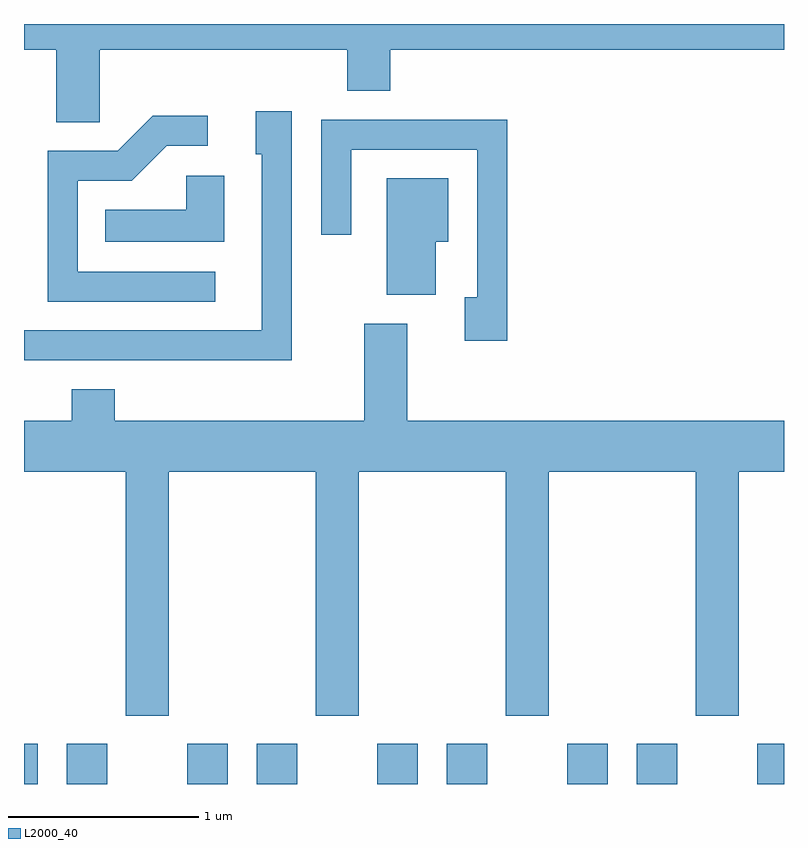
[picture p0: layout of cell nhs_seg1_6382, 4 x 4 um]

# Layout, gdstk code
import gdstk
lib = gdstk.Library(unit=1e-6, precision=1e-09)
def R(c, l, rs):  # rectangles x0, y0, x1, y1
    for r in rs: c.add(gdstk.rectangle(r[:2], r[2:], *l))
def P(c, l, *ps):  # polygons
    for p in ps: c.add(gdstk.Polygon(p, *l))
L2000_40 = (2000, 40)

nhs_seg1_6382 = lib.new_cell('nhs_seg1_6382')
R(nhs_seg1_6382, L2000_40, [(377.611,895.712,377.684,895.924), (377.836,895.712,378.049,895.924), (378.471,895.712,378.684,895.924), (378.836,895.712,379.049,895.924), (379.471,895.712,379.684,895.924), (379.836,895.712,380.049,895.924), (380.471,895.712,380.684,895.924), (380.836,895.712,381.049,895.924), (381.471,895.712,381.611,895.924)])
P(nhs_seg1_6382, L2000_40, [(378.009,899.576),(379.311,899.576),(379.311,899.361),(379.539,899.361),(379.539,899.576),(381.611,899.576),(381.611,899.712),(377.611,899.712),(377.611,899.576),(377.781,899.576),(377.781,899.196),(378.009,899.196)],
  [(379.019,899.254),(378.831,899.254),(378.831,899.026),(378.861,899.026),(378.861,898.099),(377.611,898.099),(377.611,897.941),(379.019,897.941)],
  [(378.618,898.409),(377.894,898.409),(377.894,898.886),(378.177,898.886),(378.362,899.071),(378.578,899.071),(378.578,899.229),(378.289,899.229),(378.104,899.044),(377.736,899.044),(377.736,898.251),(378.618,898.251)],
  [(380.154,899.209),(379.176,899.209),(379.176,898.603),(379.334,898.603),(379.334,899.051),(379.996,899.051),(379.996,898.274),(379.931,898.274),(379.931,898.046),(380.154,898.046)],
  [(378.664,898.914),(378.466,898.914),(378.466,898.734),(378.038,898.734),(378.038,898.566),(378.664,898.566)],
  [(379.779,898.566),(379.844,898.566),(379.844,898.899),(379.521,898.899),(379.521,898.286),(379.779,898.286)],
  [(378.374,897.356),(379.146,897.356),(379.146,896.071),(379.374,896.071),(379.374,897.356),(380.146,897.356),(380.146,896.071),(380.374,896.071),(380.374,897.356),(381.146,897.356),(381.146,896.071),(381.374,896.071),(381.374,897.356),(381.611,897.356),(381.611,897.624),(379.629,897.624),(379.629,898.134),(379.401,898.134),(379.401,897.624),(378.089,897.624),(378.089,897.789),(377.861,897.789),(377.861,897.624),(377.611,897.624),(377.611,897.356),(378.146,897.356),(378.146,896.071),(378.374,896.071)])

lib.write_gds('nhs_seg1_6382.gds')
